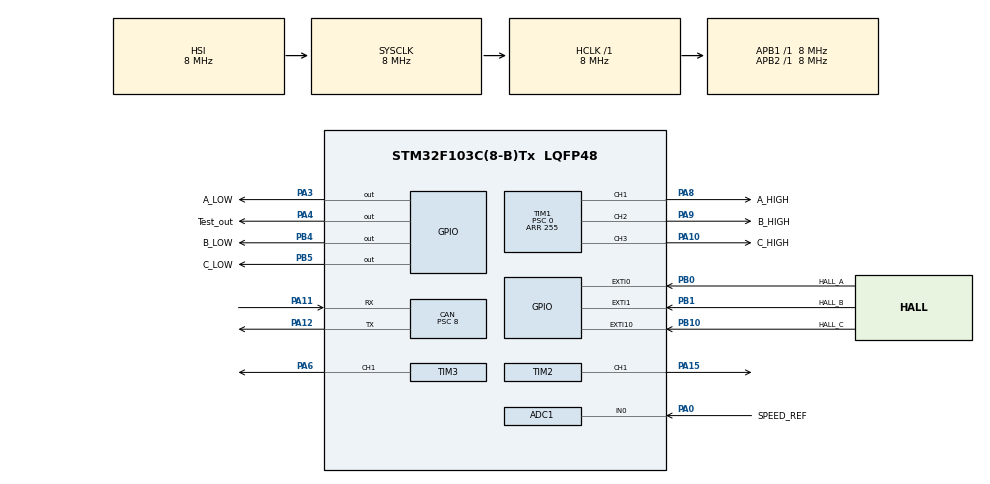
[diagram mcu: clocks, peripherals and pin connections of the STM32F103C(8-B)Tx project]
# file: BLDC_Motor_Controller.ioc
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ADC1.Channel-0\#ChannelRegularConversion=ADC_CHANNEL_0
ADC1.ContinuousConvMode=DISABLE
ADC1.NbrOfConversion=1
ADC1.NbrOfConversionFlag=1
ADC1.Rank-0\#ChannelRegularConversion=1
ADC1.SamplingTime-0\#ChannelRegularConversion=ADC_SAMPLETIME_41CYCLES_5
ADC1.master=1
CAN.BS1=CAN_BS1_2TQ
CAN.CalculateBaudRate=250000
CAN.CalculateTimeBit=4000
CAN.CalculateTimeQuantum=1000.0
CAN.Prescaler=8
Mcu.Family=STM32F1
Mcu.Name=STM32F103C(8-B)Tx
Mcu.Package=LQFP48
NVIC.ADC1_2_IRQn=true\:0\:0\:false\:false\:true\:true\:true
NVIC.CAN1_RX1_IRQn=true\:0\:0\:false\:false\:true\:true\:true
NVIC.EXTI0_IRQn=true\:0\:0\:false\:false\:true\:true\:true
NVIC.EXTI15_10_IRQn=true\:0\:0\:false\:false\:true\:true\:true
NVIC.EXTI1_IRQn=true\:0\:0\:false\:false\:true\:true\:true
NVIC.PriorityGroup=NVIC_PRIORITYGROUP_4
NVIC.TIM2_IRQn=true\:0\:0\:false\:false\:true\:true\:true
NVIC.TIM3_IRQn=true\:0\:0\:false\:false\:true\:true\:true
NVIC.USB_LP_CAN1_RX0_IRQn=true\:0\:0\:false\:false\:true\:true\:true
PA0-WKUP.GPIO_Label=SPEED_REF
PA0-WKUP.Signal=ADCx_IN0
PA10.GPIO_Label=C_HIGH
PA10.Signal=S_TIM1_CH3
PA11.Mode=CAN_Activate
PA11.Signal=CAN_RX
PA12.Mode=CAN_Activate
PA12.Signal=CAN_TX
PA13.Mode=Serial_Wire
PA13.Signal=SYS_JTMS-SWDIO
PA14.Mode=Serial_Wire
PA14.Signal=SYS_JTCK-SWCLK
PA15.Signal=S_TIM2_CH1_ETR
PA3.GPIO_Label=A_LOW
PA3.Signal=GPIO_Output
PA4.GPIO_Label=Test_out
PA4.Signal=GPIO_Output
PA6.Signal=S_TIM3_CH1
PA8.GPIO_Label=A_HIGH
PA8.Signal=S_TIM1_CH1
PA9.GPIO_Label=B_HIGH
PA9.Signal=S_TIM1_CH2
PB0.GPIO_Label=HALL_A
PB0.GPIO_ModeDefaultEXTI=GPIO_MODE_IT_RISING_FALLING
PB0.Signal=GPXTI0
PB1.GPIO_Label=HALL_B
PB1.GPIO_ModeDefaultEXTI=GPIO_MODE_IT_RISING_FALLING
PB1.Signal=GPXTI1
PB10.GPIO_Label=HALL_C
PB10.GPIO_ModeDefaultEXTI=GPIO_MODE_IT_RISING_FALLING
PB10.Signal=GPXTI10
PB4.GPIO_Label=B_LOW
PB4.Signal=GPIO_Output
PB5.GPIO_Label=C_LOW
PB5.Signal=GPIO_Output
PD0-OSC_IN.Mode=HSE-External-Oscillator
PD0-OSC_IN.Signal=RCC_OSC_IN
PD1-OSC_OUT.Mode=HSE-External-Oscillator
PD1-OSC_OUT.Signal=RCC_OSC_OUT
ProjectManager.HeapSize=0x200
ProjectManager.StackSize=0x400
ProjectManager.TargetToolchain=STM32CubeIDE
RCC.AHBFreq_Value=8000000
RCC.APB1Freq_Value=8000000
RCC.APB1TimFreq_Value=8000000
RCC.APB2Freq_Value=8000000
RCC.APB2TimFreq_Value=8000000
RCC.HCLKFreq_Value=8000000
RCC.HSE_VALUE=16000000
RCC.SYSCLKFreq_VALUE=8000000
SH.ADCx_IN0.0=ADC1_IN0,IN0
SH.S_TIM1_CH1.0=TIM1_CH1,PWM Generation1 CH1
SH.S_TIM1_CH2.0=TIM1_CH2,PWM Generation2 CH2
SH.S_TIM1_CH3.0=TIM1_CH3,PWM Generation3 CH3
SH.S_TIM2_CH1_ETR.0=TIM2_CH1,Output Compare1 CH1
SH.S_TIM3_CH1.0=TIM3_CH1,Output Compare1 CH1
TIM1.Channel-PWM\ Generation1\ CH1=TIM_CHANNEL_1
TIM1.Channel-PWM\ Generation2\ CH2=TIM_CHANNEL_2
TIM1.Channel-PWM\ Generation3\ CH3=TIM_CHANNEL_3
TIM1.Period=255
TIM1.Prescaler=0
TIM2.Channel-Output\ Compare1\ CH1=TIM_CHANNEL_1
TIM2.Period=5000
TIM2.Prescaler=800 - 1
TIM3.Channel-Output\ Compare1\ CH1=TIM_CHANNEL_1
TIM3.Period=100
TIM3.Prescaler=800 - 1
VP_TIM1_VS_ClockSourceINT.Mode=Internal
VP_TIM2_VS_ClockSourceINT.Mode=Internal
VP_TIM3_VS_ClockSourceINT.Mode=Internal
board=custom

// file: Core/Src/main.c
/* USER CODE BEGIN Header */
/**
  ******************************************************************************
  * @file           : main.c
  * @brief          : Main program body
  ******************************************************************************
  * @attention
  *
  * <h2><center>&copy; Copyright (c) 2021 STMicroelectronics.
  * All rights reserved.</center></h2>
  *
  * This software component is licensed by ST under BSD 3-Clause license,
  * the "License"; You may not use this file except in compliance with the
  * License. You may obtain a copy of the License at:
  *                        opensource.org/licenses/BSD-3-Clause
  *
  ******************************************************************************
  */
/* USER CODE END Header */
#include "main.h"

/* USER CODE BEGIN Includes */

#include "PID.h"

/* USER CODE END Includes */

/* USER CODE BEGIN PD */

/* Controller parameters */
#define PID_KP  0.04f
#define PID_KI  0.1f
#define PID_KD  0.0f

#define PID_TAU 0.02f

#define PID_LIM_MIN  0.0f
#define PID_LIM_MAX  255.0f

#define SAMPLE_TIME_S 0.01f

/* CAN data */

//Position of the respective data flags

#define GF 0u  	// General flag
#define PW 1u	// Power flag
#define EM 2u	// Emergency flag
#define SU 3u	// Speed unit
#define CS0 4u	// Cruice Speed 0
#define CS1 5u	// Cruice Speed 1

/* USER CODE END PD */

ADC_HandleTypeDef hadc1;

CAN_HandleTypeDef hcan;

TIM_HandleTypeDef htim1;
TIM_HandleTypeDef htim2;
TIM_HandleTypeDef htim3;

void SystemClock_Config(void);
static void MX_GPIO_Init(void);
static void MX_ADC1_Init(void);
static void MX_TIM1_Init(void);
static void MX_TIM2_Init(void);
static void MX_CAN_Init(void);
static void MX_TIM3_Init(void);

/* USER CODE BEGIN 0 */

//FUNCTIONS
void show_velocity(uint16_t vel); //Shows integer Velocity using three digits

void Hall_Decoder(void); // Makes the hall encoding for commutation

//VARIABLES

uint8_t power = 0; // Power state

int Sensors[3] = {0,0,0}; //Hall sensors (A, B, C)

float duty_cycle = 0; //Duty cycle para el PWM

uint16_t adc_sample = 0;

uint8_t counts = 0;

float adc_sum = 0;

uint16_t adc_av = 0; // adc_average

float vel_d = 0; //desired velocity

float cruise_factor1 = 7.29; // factor to obtain the first cruise speed (35 km/h)

float cruise_factor2 = 8.5; // factor to obtain the second cruise speed (30 km/h)

float cruise_factor3 = 10.2; // factor to obtain the second cruise speed (25 km/h)

float cruise_factor = 7.29; // General cruise factor, initial value with 1

uint16_t steps = 0; // Number of steps by the motor

float vel_rpm = 0; // Number of steps by the motor

float velocity = 0; // Any of the other velocities

float rpm2kmh = 10.44; // rpm speed to km/h factor (se divide los rpm por esto para obtener en km/h)

//CONTROL VALUES

float error = 0; //difference between desired and measured speed

float cumError = 0; //error*elapsedTime

float proportional = 0; // Proportional part

float integral = 0; //Integral part

float u = 0; //control law

//CAN VARIABLES

uint8_t CAN_FLAG_REG;	// Register of flags for can

CAN_TxHeaderTypeDef TxHeader;
CAN_RxHeaderTypeDef RxHeader;

uint32_t TxMailbox;
uint32_t FreeMailbox; // Check the amount of mailboxes free

uint8_t TxData[8];
uint8_t RxData[8];

//PID
PIDController pid = { PID_KP, PID_KI, PID_KD, PID_TAU,
						PID_LIM_MIN, PID_LIM_MAX, SAMPLE_TIME_S };

// Motor variables

uint8_t motor_off = 0;

void HAL_CAN_RxFifo0MsgPendingCallback(CAN_HandleTypeDef *hcan)
{
	HAL_CAN_GetRxMessage(hcan, CAN_RX_FIFO0, &RxHeader, RxData);

	if (RxData[0] == 96 && RxData[1] == 234){ // HMI Page 60000

		if (RxData[4] == 1){ //HMI button 1
			power = 1;
		}
		if (RxData[4] == 2){ //HMI button 2
			power = 0;
		}

		if (RxData[5] == 16){ //HMI down button
			//TxData[4] = 0;		//Change button color
			CAN_FLAG_REG &= ~(1 << CS1);
			CAN_FLAG_REG &= ~(1 << CS0); //Cruise speed 0

		}
		if (RxData[5] == 8){ //HMI left button
			//TxData[4] = 1; 		//Change button color
			CAN_FLAG_REG &= ~(1 << CS1);
			CAN_FLAG_REG |=  (1 << CS0); //Cruise speed 1

		}
		if (RxData[5] == 32){ //HMI right button
			//TxData[4] = 2;		//Change button color
			CAN_FLAG_REG |=  (1 << CS1);
			CAN_FLAG_REG &= ~(1 << CS0); //Cruise speed 2

		}
		if (RxData[5] == 2){ //HMI up button
			//TxData[4] = 3;		//Change button color
			CAN_FLAG_REG |=  (1 << CS1);
			CAN_FLAG_REG |=  (1 << CS0); //Cruise speed 3

		}

	}
}

/* USER CODE END 0 */

int main(void)
{

  /* MCU Configuration--------------------------------------------------------*/

  /* Reset of all peripherals, Initializes the Flash interface and the Systick. */
  HAL_Init();

  /* Configure the system clock */
  SystemClock_Config();

  /* Initialize all configured peripherals */
  MX_GPIO_Init();
  MX_ADC1_Init();
  MX_TIM1_Init();
  MX_TIM2_Init();
  MX_CAN_Init();
  MX_TIM3_Init();
  /* USER CODE BEGIN 2 */

  //Starting timer2 (0.5 seconds) to show speed
  HAL_TIM_Base_Start_IT(&htim2);

  //Starting timer3 (0.01 seconds) for speed control
  HAL_TIM_Base_Start_IT(&htim3);

  //CAN
  HAL_CAN_Start(&hcan);

  //CAN FIFO activation
  HAL_CAN_ActivateNotification(&hcan, CAN_IT_RX_FIFO0_MSG_PENDING);

  //Configurando la transmision

  TxHeader.DLC = 8;  // Son 8 bytes de data
  TxHeader.ExtId = 0;
  TxHeader.IDE = CAN_ID_STD; //Identificador del mensaje
  TxHeader.RTR = CAN_RTR_DATA;
  TxHeader.StdId = 0x103;  // Este es el ID que mandaremos al periferico
  TxHeader.TransmitGlobalTime = DISABLE;

  // CAN_FLAG_REG Initialization
  CAN_FLAG_REG |=  (1<<GF);	// General Flag 1 (necessary)
  //CAN_FLAG_REG &= ~(1<<SU); // Speed RPM
  CAN_FLAG_REG |=  (1<<SU); // Speed km/h
  CAN_FLAG_REG &= ~(1<<EM); // No Emergency
  CAN_FLAG_REG &= ~(1<<PW); // Initial OFF
  CAN_FLAG_REG &= ~(1<<CS0); //
  CAN_FLAG_REG &= ~(1<<CS1); // Cruise speed0

  TxData[0] = 0; 	//Speed component
  TxData[1] = 0;	//Speed component
  TxData[2] = 0;
  TxData[3] = 0;
  TxData[4] = 0;
  TxData[5] = 0;
  TxData[6] = 0;
  TxData[7] = CAN_FLAG_REG;	//Flags byte  [0 0 0 0 0 0 0 1] [x x cs cs su em pw gf]

  // x: not defined
  // cs: cruice speed (0 to 3)
  // su: speed units (0 for RPM, 1 for km/h)
  // em: emergency ( 1 for alert)
  // pw: Power flag (0 off, 1 on)
  // gf: general flag (1 always)

  /* USER CODE END 2 */

  /* Infinite loop */
  /* USER CODE BEGIN WHILE */

  /* Initialize PID controller */

  PIDController_Init(&pid);

  HAL_ADC_Start_IT(&hadc1);

  __HAL_TIM_SET_COMPARE(&htim1, TIM_CHANNEL_1, duty_cycle);
  __HAL_TIM_SET_COMPARE(&htim1, TIM_CHANNEL_2, duty_cycle);
  __HAL_TIM_SET_COMPARE(&htim1, TIM_CHANNEL_3, duty_cycle);

  //INITIAL POSITION

	//HALL A
	if (HAL_GPIO_ReadPin(HALL_A_GPIO_Port,HALL_A_Pin)) Sensors[0] = 1;
	else Sensors[0] = 0;
	//HALL B
	if (HAL_GPIO_ReadPin(HALL_B_GPIO_Port,HALL_B_Pin)) Sensors[1] = 1;
	else Sensors[1] = 0;
	//HALL C
	if (HAL_GPIO_ReadPin(HALL_C_GPIO_Port,HALL_C_Pin)) Sensors[2] = 1;
	else Sensors[2] = 0;

  while (1)
  {

	  if (power == 1){

		  HAL_ADC_Start_IT(&hadc1);

		  //HALL DECODER

		  Hall_Decoder(); //Makes the hall encoding

	  }

	  //Poner modo sleep

	  else{

		  //TURN OFF PID

		  PIDController_Reset(&pid);

		  integral = pid.integrator;

		  u = pid.out;

		  duty_cycle = u;

		  //Turn off the high gates
		  __HAL_TIM_SET_COMPARE(&htim1, TIM_CHANNEL_1, u);
		  __HAL_TIM_SET_COMPARE(&htim1, TIM_CHANNEL_2, u);
		  __HAL_TIM_SET_COMPARE(&htim1, TIM_CHANNEL_3, u);

		  //Turn off the low gates
		  HAL_GPIO_WritePin(C_LOW_GPIO_Port , C_LOW_Pin,  GPIO_PIN_RESET);
		  HAL_GPIO_WritePin(B_LOW_GPIO_Port , B_LOW_Pin,  GPIO_PIN_RESET);
		  HAL_GPIO_WritePin(A_LOW_GPIO_Port , A_LOW_Pin,  GPIO_PIN_RESET);

	  }

    /* USER CODE END WHILE */

  }
}

void SystemClock_Config(void)
{
  RCC_OscInitTypeDef RCC_OscInitStruct = {0};
  RCC_ClkInitTypeDef RCC_ClkInitStruct = {0};
  RCC_PeriphCLKInitTypeDef PeriphClkInit = {0};

  /** Initializes the RCC Oscillators according to the specified parameters
  * in the RCC_OscInitTypeDef structure.
  */
  RCC_OscInitStruct.OscillatorType = RCC_OSCILLATORTYPE_HSI;
  RCC_OscInitStruct.HSIState = RCC_HSI_ON;
  RCC_OscInitStruct.HSICalibrationValue = RCC_HSICALIBRATION_DEFAULT;
  RCC_OscInitStruct.PLL.PLLState = RCC_PLL_NONE;
  if (HAL_RCC_OscConfig(&RCC_OscInitStruct) != HAL_OK)
  {
    Error_Handler();
  }
  /** Initializes the CPU, AHB and APB buses clocks
  */
  RCC_ClkInitStruct.ClockType = RCC_CLOCKTYPE_HCLK|RCC_CLOCKTYPE_SYSCLK
                              |RCC_CLOCKTYPE_PCLK1|RCC_CLOCKTYPE_PCLK2;
  RCC_ClkInitStruct.SYSCLKSource = RCC_SYSCLKSOURCE_HSI;
  RCC_ClkInitStruct.AHBCLKDivider = RCC_SYSCLK_DIV1;
  RCC_ClkInitStruct.APB1CLKDivider = RCC_HCLK_DIV1;
  RCC_ClkInitStruct.APB2CLKDivider = RCC_HCLK_DIV1;

  if (HAL_RCC_ClockConfig(&RCC_ClkInitStruct, FLASH_LATENCY_0) != HAL_OK)
  {
    Error_Handler();
  }
  PeriphClkInit.PeriphClockSelection = RCC_PERIPHCLK_ADC;
  PeriphClkInit.AdcClockSelection = RCC_ADCPCLK2_DIV2;
  if (HAL_RCCEx_PeriphCLKConfig(&PeriphClkInit) != HAL_OK)
  {
    Error_Handler();
  }
}

static void MX_ADC1_Init(void)
{

  ADC_ChannelConfTypeDef sConfig = {0};

  /** Common config
  */
  hadc1.Instance = ADC1;
  hadc1.Init.ScanConvMode = ADC_SCAN_DISABLE;
  hadc1.Init.ContinuousConvMode = DISABLE;
  hadc1.Init.DiscontinuousConvMode = DISABLE;
  hadc1.Init.ExternalTrigConv = ADC_SOFTWARE_START;
  hadc1.Init.DataAlign = ADC_DATAALIGN_RIGHT;
  hadc1.Init.NbrOfConversion = 1;
  if (HAL_ADC_Init(&hadc1) != HAL_OK)
  {
    Error_Handler();
  }
  /** Configure Regular Channel
  */
  sConfig.Channel = ADC_CHANNEL_0;
  sConfig.Rank = ADC_REGULAR_RANK_1;
  sConfig.SamplingTime = ADC_SAMPLETIME_41CYCLES_5;
  if (HAL_ADC_ConfigChannel(&hadc1, &sConfig) != HAL_OK)
  {
    Error_Handler();
  }

}

static void MX_CAN_Init(void)
{

  hcan.Instance = CAN1;
  hcan.Init.Prescaler = 8;
  hcan.Init.Mode = CAN_MODE_NORMAL;
  hcan.Init.SyncJumpWidth = CAN_SJW_1TQ;
  hcan.Init.TimeSeg1 = CAN_BS1_2TQ;
  hcan.Init.TimeSeg2 = CAN_BS2_1TQ;
  hcan.Init.TimeTriggeredMode = DISABLE;
  hcan.Init.AutoBusOff = DISABLE;
  hcan.Init.AutoWakeUp = DISABLE;
  hcan.Init.AutoRetransmission = DISABLE;
  hcan.Init.ReceiveFifoLocked = DISABLE;
  hcan.Init.TransmitFifoPriority = DISABLE;
  if (HAL_CAN_Init(&hcan) != HAL_OK)
  {
    Error_Handler();
  }
  /* USER CODE BEGIN CAN_Init 2 */

  CAN_FilterTypeDef canfilterconfig;

  canfilterconfig.FilterActivation = CAN_FILTER_ENABLE;
  canfilterconfig.FilterBank = 10;  // anything between 0 to SlaveStartFilterBank
  canfilterconfig.FilterFIFOAssignment = CAN_RX_FIFO0;
  canfilterconfig.FilterIdHigh = 0x01<<5;
  canfilterconfig.FilterIdLow = 0;
  canfilterconfig.FilterMaskIdHigh = 0x01<<5;
  canfilterconfig.FilterMaskIdLow = 0x0000;
  canfilterconfig.FilterMode = CAN_FILTERMODE_IDMASK;
  canfilterconfig.FilterScale = CAN_FILTERSCALE_32BIT;
  canfilterconfig.SlaveStartFilterBank = 0;  // 13 to 27 are assigned to slave CAN (CAN 2) OR 0 to 12 are assgned to CAN1

  HAL_CAN_ConfigFilter(&hcan, &canfilterconfig);

  /* USER CODE END CAN_Init 2 */

}

static void MX_TIM1_Init(void)
{

  TIM_ClockConfigTypeDef sClockSourceConfig = {0};
  TIM_MasterConfigTypeDef sMasterConfig = {0};
  TIM_OC_InitTypeDef sConfigOC = {0};
  TIM_BreakDeadTimeConfigTypeDef sBreakDeadTimeConfig = {0};

  htim1.Instance = TIM1;
  htim1.Init.Prescaler = 2-1;
  htim1.Init.CounterMode = TIM_COUNTERMODE_UP;
  htim1.Init.Period = 255;
  htim1.Init.ClockDivision = TIM_CLOCKDIVISION_DIV1;
  htim1.Init.RepetitionCounter = 0;
  htim1.Init.AutoReloadPreload = TIM_AUTORELOAD_PRELOAD_DISABLE;
  if (HAL_TIM_Base_Init(&htim1) != HAL_OK)
  {
    Error_Handler();
  }
  sClockSourceConfig.ClockSource = TIM_CLOCKSOURCE_INTERNAL;
  if (HAL_TIM_ConfigClockSource(&htim1, &sClockSourceConfig) != HAL_OK)
  {
    Error_Handler();
  }
  if (HAL_TIM_PWM_Init(&htim1) != HAL_OK)
  {
    Error_Handler();
  }
  sMasterConfig.MasterOutputTrigger = TIM_TRGO_RESET;
  sMasterConfig.MasterSlaveMode = TIM_MASTERSLAVEMODE_DISABLE;
  if (HAL_TIMEx_MasterConfigSynchronization(&htim1, &sMasterConfig) != HAL_OK)
  {
    Error_Handler();
  }
  sConfigOC.OCMode = TIM_OCMODE_PWM1;
  sConfigOC.Pulse = 0;
  sConfigOC.OCPolarity = TIM_OCPOLARITY_HIGH;
  sConfigOC.OCNPolarity = TIM_OCNPOLARITY_HIGH;
  sConfigOC.OCFastMode = TIM_OCFAST_DISABLE;
  sConfigOC.OCIdleState = TIM_OCIDLESTATE_RESET;
  sConfigOC.OCNIdleState = TIM_OCNIDLESTATE_RESET;
  if (HAL_TIM_PWM_ConfigChannel(&htim1, &sConfigOC, TIM_CHANNEL_1) != HAL_OK)
  {
    Error_Handler();
  }
  if (HAL_TIM_PWM_ConfigChannel(&htim1, &sConfigOC, TIM_CHANNEL_2) != HAL_OK)
  {
    Error_Handler();
  }
  if (HAL_TIM_PWM_ConfigChannel(&htim1, &sConfigOC, TIM_CHANNEL_3) != HAL_OK)
  {
    Error_Handler();
  }
  sBreakDeadTimeConfig.OffStateRunMode = TIM_OSSR_DISABLE;
  sBreakDeadTimeConfig.OffStateIDLEMode = TIM_OSSI_DISABLE;
  sBreakDeadTimeConfig.LockLevel = TIM_LOCKLEVEL_OFF;
  sBreakDeadTimeConfig.DeadTime = 0;
  sBreakDeadTimeConfig.BreakState = TIM_BREAK_DISABLE;
  sBreakDeadTimeConfig.BreakPolarity = TIM_BREAKPOLARITY_HIGH;
  sBreakDeadTimeConfig.AutomaticOutput = TIM_AUTOMATICOUTPUT_DISABLE;
  if (HAL_TIMEx_ConfigBreakDeadTime(&htim1, &sBreakDeadTimeConfig) != HAL_OK)
  {
    Error_Handler();
  }
  HAL_TIM_MspPostInit(&htim1);

}

static void MX_TIM2_Init(void)
{

  TIM_ClockConfigTypeDef sClockSourceConfig = {0};
  TIM_MasterConfigTypeDef sMasterConfig = {0};
  TIM_OC_InitTypeDef sConfigOC = {0};

  htim2.Instance = TIM2;
  htim2.Init.Prescaler = 800 - 1;
  htim2.Init.CounterMode = TIM_COUNTERMODE_UP;
  htim2.Init.Period = 5000;
  htim2.Init.ClockDivision = TIM_CLOCKDIVISION_DIV1;
  htim2.Init.AutoReloadPreload = TIM_AUTORELOAD_PRELOAD_DISABLE;
  if (HAL_TIM_Base_Init(&htim2) != HAL_OK)
  {
    Error_Handler();
  }
  sClockSourceConfig.ClockSource = TIM_CLOCKSOURCE_INTERNAL;
  if (HAL_TIM_ConfigClockSource(&htim2, &sClockSourceConfig) != HAL_OK)
  {
    Error_Handler();
  }
  if (HAL_TIM_OC_Init(&htim2) != HAL_OK)
  {
    Error_Handler();
  }
  sMasterConfig.MasterOutputTrigger = TIM_TRGO_RESET;
  sMasterConfig.MasterSlaveMode = TIM_MASTERSLAVEMODE_DISABLE;
  if (HAL_TIMEx_MasterConfigSynchronization(&htim2, &sMasterConfig) != HAL_OK)
  {
    Error_Handler();
  }
  sConfigOC.OCMode = TIM_OCMODE_TIMING;
  sConfigOC.Pulse = 0;
  sConfigOC.OCPolarity = TIM_OCPOLARITY_HIGH;
  sConfigOC.OCFastMode = TIM_OCFAST_DISABLE;
  if (HAL_TIM_OC_ConfigChannel(&htim2, &sConfigOC, TIM_CHANNEL_1) != HAL_OK)
  {
    Error_Handler();
  }
  HAL_TIM_MspPostInit(&htim2);

}

static void MX_TIM3_Init(void)
{

  TIM_ClockConfigTypeDef sClockSourceConfig = {0};
  TIM_MasterConfigTypeDef sMasterConfig = {0};
  TIM_OC_InitTypeDef sConfigOC = {0};

  htim3.Instance = TIM3;
  htim3.Init.Prescaler = 800 - 1;
  htim3.Init.CounterMode = TIM_COUNTERMODE_UP;
  htim3.Init.Period = 100;
  htim3.Init.ClockDivision = TIM_CLOCKDIVISION_DIV1;
  htim3.Init.AutoReloadPreload = TIM_AUTORELOAD_PRELOAD_DISABLE;
  if (HAL_TIM_Base_Init(&htim3) != HAL_OK)
  {
    Error_Handler();
  }
  sClockSourceConfig.ClockSource = TIM_CLOCKSOURCE_INTERNAL;
  if (HAL_TIM_ConfigClockSource(&htim3, &sClockSourceConfig) != HAL_OK)
  {
    Error_Handler();
  }
  if (HAL_TIM_OC_Init(&htim3) != HAL_OK)
  {
    Error_Handler();
  }
  sMasterConfig.MasterOutputTrigger = TIM_TRGO_RESET;
  sMasterConfig.MasterSlaveMode = TIM_MASTERSLAVEMODE_DISABLE;
  if (HAL_TIMEx_MasterConfigSynchronization(&htim3, &sMasterConfig) != HAL_OK)
  {
    Error_Handler();
  }
  sConfigOC.OCMode = TIM_OCMODE_TIMING;
  sConfigOC.Pulse = 0;
  sConfigOC.OCPolarity = TIM_OCPOLARITY_HIGH;
  sConfigOC.OCFastMode = TIM_OCFAST_DISABLE;
  if (HAL_TIM_OC_ConfigChannel(&htim3, &sConfigOC, TIM_CHANNEL_1) != HAL_OK)
  {
    Error_Handler();
  }
  HAL_TIM_MspPostInit(&htim3);

}

static void MX_GPIO_Init(void)
{
  GPIO_InitTypeDef GPIO_InitStruct = {0};

  /* GPIO Ports Clock Enable */
  __HAL_RCC_GPIOD_CLK_ENABLE();
  __HAL_RCC_GPIOA_CLK_ENABLE();
  __HAL_RCC_GPIOB_CLK_ENABLE();

  /*Configure GPIO pin Output Level */
  HAL_GPIO_WritePin(Test_out_GPIO_Port, Test_out_Pin, GPIO_PIN_RESET);

  /*Configure GPIO pin Output Level */
  HAL_GPIO_WritePin(GPIOB, C_LOW_Pin|B_LOW_Pin|A_LOW_Pin, GPIO_PIN_RESET);

  /*Configure GPIO pin : Test_out_Pin */
  GPIO_InitStruct.Pin = Test_out_Pin;
  GPIO_InitStruct.Mode = GPIO_MODE_OUTPUT_PP;
  GPIO_InitStruct.Pull = GPIO_NOPULL;
  GPIO_InitStruct.Speed = GPIO_SPEED_FREQ_LOW;
  HAL_GPIO_Init(Test_out_GPIO_Port, &GPIO_InitStruct);

  /*Configure GPIO pins : HALL_A_Pin HALL_B_Pin HALL_C_Pin */
  GPIO_InitStruct.Pin = HALL_A_Pin|HALL_B_Pin|HALL_C_Pin;
  GPIO_InitStruct.Mode = GPIO_MODE_IT_RISING_FALLING;
  GPIO_InitStruct.Pull = GPIO_NOPULL;
  HAL_GPIO_Init(GPIOB, &GPIO_InitStruct);

  /*Configure GPIO pins : C_LOW_Pin B_LOW_Pin A_LOW_Pin */
  GPIO_InitStruct.Pin = C_LOW_Pin|B_LOW_Pin|A_LOW_Pin;
  GPIO_InitStruct.Mode = GPIO_MODE_OUTPUT_PP;
  GPIO_InitStruct.Pull = GPIO_NOPULL;
  GPIO_InitStruct.Speed = GPIO_SPEED_FREQ_LOW;
  HAL_GPIO_Init(GPIOB, &GPIO_InitStruct);

  /* EXTI interrupt init*/
  HAL_NVIC_SetPriority(EXTI0_IRQn, 0, 0);
  HAL_NVIC_EnableIRQ(EXTI0_IRQn);

  HAL_NVIC_SetPriority(EXTI1_IRQn, 0, 0);
  HAL_NVIC_EnableIRQ(EXTI1_IRQn);

  HAL_NVIC_SetPriority(EXTI15_10_IRQn, 0, 0);
  HAL_NVIC_EnableIRQ(EXTI15_10_IRQn);

}

/* USER CODE BEGIN 4 */

//FUNCIONES

void Hall_Decoder(void){
	if (motor_off == 1){
		HAL_TIM_PWM_Stop(&htim1, TIM_CHANNEL_1);
		HAL_TIM_PWM_Stop(&htim1, TIM_CHANNEL_2);
		HAL_TIM_PWM_Stop(&htim1, TIM_CHANNEL_3);

		HAL_GPIO_WritePin(A_LOW_GPIO_Port , A_LOW_Pin,  GPIO_PIN_RESET);
		HAL_GPIO_WritePin(B_LOW_GPIO_Port , B_LOW_Pin,  GPIO_PIN_RESET);
		HAL_GPIO_WritePin(C_LOW_GPIO_Port , C_LOW_Pin,  GPIO_PIN_RESET);

	}
	else{
	if (Sensors[2] == 1 && Sensors[1] == 0 && Sensors[0] == 1) {
		HAL_TIM_PWM_Stop(&htim1, TIM_CHANNEL_2);
		HAL_TIM_PWM_Stop(&htim1, TIM_CHANNEL_3);

		HAL_GPIO_WritePin(C_LOW_GPIO_Port , C_LOW_Pin,  GPIO_PIN_RESET);
		HAL_GPIO_WritePin(A_LOW_GPIO_Port , A_LOW_Pin,  GPIO_PIN_RESET);

		//delay
		HAL_Delay(0.001);

		HAL_TIM_PWM_Start(&htim1, TIM_CHANNEL_1);
		HAL_GPIO_WritePin(B_LOW_GPIO_Port , B_LOW_Pin,  GPIO_PIN_SET);

	}
	else if(Sensors[2] == 1 && Sensors[1] == 0 && Sensors[0] == 0) {

		HAL_TIM_PWM_Stop(&htim1, TIM_CHANNEL_1);
		HAL_TIM_PWM_Stop(&htim1, TIM_CHANNEL_2);

		HAL_GPIO_WritePin(C_LOW_GPIO_Port , C_LOW_Pin,  GPIO_PIN_RESET);
		HAL_GPIO_WritePin(A_LOW_GPIO_Port , A_LOW_Pin,  GPIO_PIN_RESET);

		//delay
		HAL_Delay(0.001);

		HAL_TIM_PWM_Start(&htim1, TIM_CHANNEL_3);
		HAL_GPIO_WritePin(B_LOW_GPIO_Port , B_LOW_Pin,  GPIO_PIN_SET);

	}

	else if(Sensors[2] == 1 && Sensors[1] == 1 && Sensors[0] == 0) {

		HAL_TIM_PWM_Stop(&htim1, TIM_CHANNEL_1);
		HAL_TIM_PWM_Stop(&htim1, TIM_CHANNEL_2);

		HAL_GPIO_WritePin(C_LOW_GPIO_Port , C_LOW_Pin,   GPIO_PIN_RESET);
		HAL_GPIO_WritePin(B_LOW_GPIO_Port , B_LOW_Pin,  GPIO_PIN_RESET);

		//delay
		HAL_Delay(0.001);

		HAL_TIM_PWM_Start(&htim1, TIM_CHANNEL_3);
		HAL_GPIO_WritePin(A_LOW_GPIO_Port , A_LOW_Pin,  GPIO_PIN_SET);

	}

	else if(Sensors[2] == 0 && Sensors[1] == 1 && Sensors[0] == 0) {

		HAL_TIM_PWM_Stop(&htim1, TIM_CHANNEL_1);
		HAL_TIM_PWM_Stop(&htim1, TIM_CHANNEL_3);

		HAL_GPIO_WritePin(C_LOW_GPIO_Port , C_LOW_Pin,  GPIO_PIN_RESET);
		HAL_GPIO_WritePin(B_LOW_GPIO_Port , B_LOW_Pin,  GPIO_PIN_RESET);

		//delay
		HAL_Delay(0.001);

		HAL_TIM_PWM_Start(&htim1, TIM_CHANNEL_2);
		HAL_GPIO_WritePin(A_LOW_GPIO_Port , A_LOW_Pin,  GPIO_PIN_SET);

	}

	else if(Sensors[2] == 0 && Sensors[1] == 1 && Sensors[0] == 1) {

		HAL_TIM_PWM_Stop(&htim1, TIM_CHANNEL_1);
		HAL_TIM_PWM_Stop(&htim1, TIM_CHANNEL_3);

		HAL_GPIO_WritePin(B_LOW_GPIO_Port , B_LOW_Pin,  GPIO_PIN_RESET);
		HAL_GPIO_WritePin(A_LOW_GPIO_Port , A_LOW_Pin,  GPIO_PIN_RESET);

		//delay
		HAL_Delay(0.001);

		HAL_TIM_PWM_Start(&htim1, TIM_CHANNEL_2);
		HAL_GPIO_WritePin(C_LOW_GPIO_Port , C_LOW_Pin,  GPIO_PIN_SET);

	}

	else if(Sensors[2] == 0 && Sensors[1] == 0 && Sensors[0] == 1) {

		HAL_TIM_PWM_Stop(&htim1, TIM_CHANNEL_2);
		HAL_TIM_PWM_Stop(&htim1, TIM_CHANNEL_3);

		HAL_GPIO_WritePin(B_LOW_GPIO_Port , B_LOW_Pin,  GPIO_PIN_RESET);
		HAL_GPIO_WritePin(A_LOW_GPIO_Port , A_LOW_Pin,  GPIO_PIN_RESET);

		//delay
		HAL_Delay(0.001);

		HAL_TIM_PWM_Start(&htim1, TIM_CHANNEL_1);
		HAL_GPIO_WritePin(C_LOW_GPIO_Port , C_LOW_Pin,  GPIO_PIN_SET);

	}
	}
}

//INTERRUPCIONES

//ADC INTERRUPT
void HAL_ADC_ConvCpltCallback(ADC_HandleTypeDef* hadc){

	adc_sample = HAL_ADC_GetValue(&hadc1);

	/*
	adc_sum+= adc_sample/16.06;  // 16.06 para convertir de 12 bits a 8 bits
	counts += 1;

	if (counts == 150){
	  adc_av = adc_sum/counts;
	  adc_sum = 0;
	  counts = 0;

	}

	vel_d = adc_av/cruise_factor;
	duty_cycle = adc_av;
	*/

	//PI control (reference)
	adc_sum+= adc_sample/8.192;  // 13.65 para convertir de 12 bits a un intervalo de (0-500 rpm)
	counts += 1;

	if (counts == 1){
	  adc_av = adc_sum/counts;
	  adc_sum = 0;
	  counts = 0;

	}

	vel_d = adc_av;

}

//HALL INTERRUPTIONS
void HAL_GPIO_EXTI_Callback(uint16_t GPIO_Pin){

	//HALL A
	if (GPIO_Pin == GPIO_PIN_0) {

	if (HAL_GPIO_ReadPin(GPIOB,GPIO_PIN_0)) Sensors[0] = 1;
	else Sensors[0] = 0;

	steps+=1;
	}

	//HALL B
	else if (GPIO_Pin == GPIO_PIN_1) {

	if (HAL_GPIO_ReadPin(GPIOB,GPIO_PIN_1)) Sensors[1] = 1;
	else Sensors[1] = 0;

	steps+=1;
	}

	//HALL C
	else if (GPIO_Pin == GPIO_PIN_10) {

	if (HAL_GPIO_ReadPin(GPIOB,GPIO_PIN_10)) Sensors[2] = 1;
	else Sensors[2] = 0;

	steps+=1;
	}
}

void HAL_TIM_PeriodElapsedCallback(TIM_HandleTypeDef *htim){

	//INTERRUPTION TIMER 2 (0.5 s)
	if (htim->Instance == TIM2){

		//SPEED MEASUREMENT
		//Formula para el motor de prueba
//		vel_rpm = 2*60*steps/90;  //cada 0.5 SEGUNDOS se mide la cantidad de revoluciones por minuto
//		steps = 0;

		//Formula para el motor de MK III
		vel_rpm = 2*60*steps/138;
		steps = 0;

		//Enviamos el valor de la velocidad en RPM

		if (vel_rpm > 255){
			TxData[0] = 255;
			TxData[1] = vel_rpm - 255;
		}
		else{
			TxData[0] = vel_rpm;
			TxData[1] = 0;
		}

		// SI PUSIMOS A KM POR HORA (Quitar si se pone RPM)
		TxData[0] = vel_rpm/rpm2kmh;
		TxData[1] = 0;

		//Enviamos el estado ON OFF del sistema

		//CAN_FLAG_REG ^= (power ^ CAN_FLAG_REG) & (1 << PW);
		CAN_FLAG_REG = (CAN_FLAG_REG & (~(1 << PW))) | (power << PW); // Sending the ON (1) or OFF (0)
		//FreeMailbox = HAL_CAN_GetTxMailboxesFreeLevel(&hcan);
		//Send by CAN

		TxData[7] = CAN_FLAG_REG;
		HAL_CAN_AddTxMessage(&hcan, &TxHeader, TxData, &TxMailbox);

	}

	//INTERRUPTION TIMER 3 (0.01 s)
	if (htim->Instance == TIM3){

		//CONTROL

		PIDController_Update(&pid, vel_d, vel_rpm);

		// Protection
		if (vel_d<=10){
			PIDController_Reset(&pid);
			motor_off = 1;
		}
		else{
			motor_off = 0;
		}

		integral = pid.integrator;

		u = pid.out;

		duty_cycle = u;

		// Lazo abierto  (borrar despues para probar el lazo cerrado)

		duty_cycle = vel_d/2;

		if (duty_cycle<=15){
			duty_cycle = 0;
		}

		__HAL_TIM_SET_COMPARE(&htim1, TIM_CHANNEL_1, duty_cycle);
		__HAL_TIM_SET_COMPARE(&htim1, TIM_CHANNEL_2, duty_cycle);
		__HAL_TIM_SET_COMPARE(&htim1, TIM_CHANNEL_3, duty_cycle);

	}

}

/* USER CODE END 4 */

void Error_Handler(void)
{
  __disable_irq();
  while (1)
  {
  }
}
